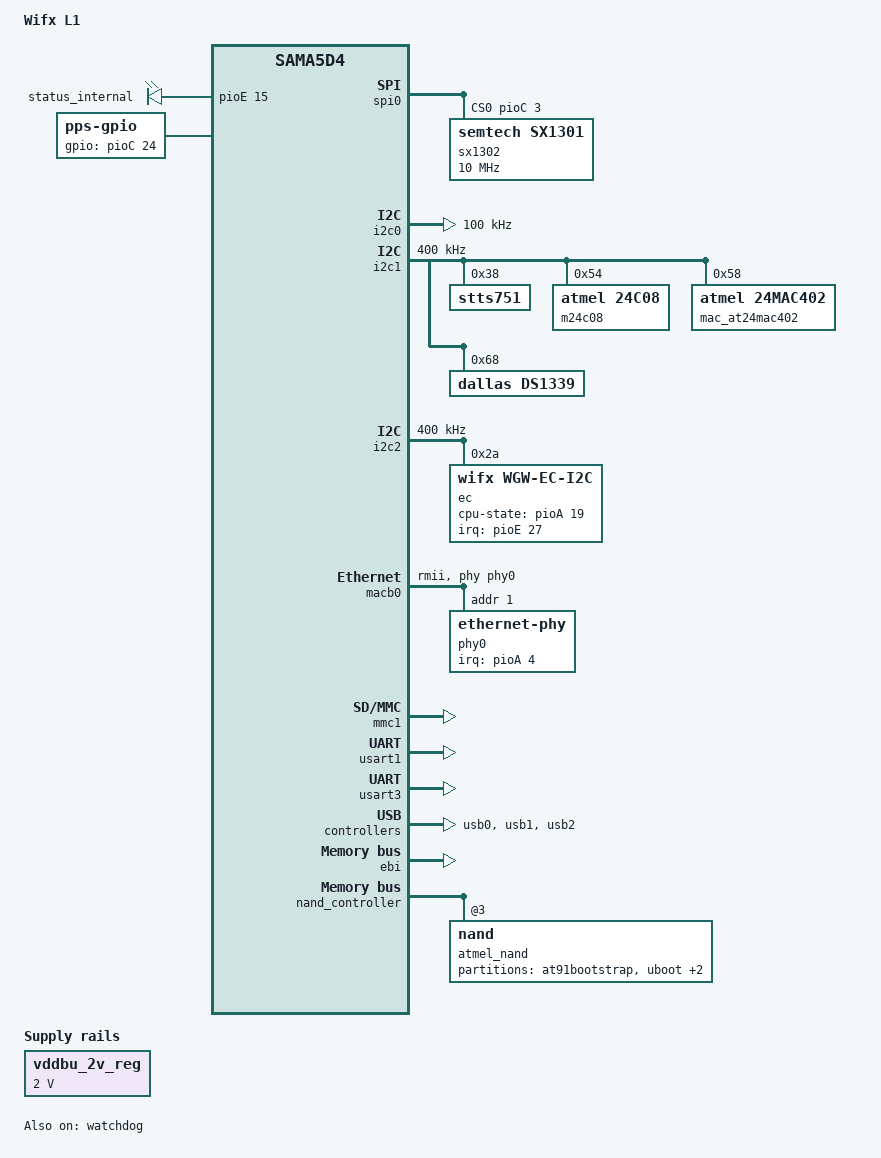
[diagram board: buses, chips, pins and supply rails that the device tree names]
// SPDX-License-Identifier: (GPL-2.0-or-later OR MIT)
// SPDX-FileCopyrightText: 2021 Wifx
// SPDX-FileCopyrightText: 2021 Yannick Lanz <yannick.lanz@wifx.net>
// SPDX-FileCopyrightText: 2022 Ahmad Fatoum, Pengutronix

/dts-v1/;

#include <arm/microchip/sama5d4.dtsi>
#include "sama5d4.dtsi"
#include <dt-bindings/gpio/gpio.h>

/ {
	model = "Wifx L1";
	compatible = "wifx,l1", "atmel,sama5d4", "atmel,sama5";
	barebox,disable-deep-probe;

	chosen {
		stdout-path = &usart3;

		environment-microsd {
			compatible = "barebox,environment";
			device-path = &mmc1;
			file-path = "barebox.env";
			status = "disabled";
		};

		environment-nand {
			compatible = "barebox,environment";
			device-path = &env_nand;
			status = "disabled";
		};
	};

	aliases {
		rtc0 = &ds1339;
		rtc1 = &rtc_internal;
		serial1 = &usart1;
		serial4 = &usart4;
	};

	leds {
		compatible = "gpio-leds";
		status = "okay";

		status_internal {
			gpios = <&pioE 15 GPIO_ACTIVE_HIGH>;
			linux,default-trigger = "heartbeat";
		};
	};

	pps {
	      compatible = "pps-gpio";
	      pinctrl-names = "default";
	      pinctrl-0 = <&pinctrl_gnss_pps>;

	      gpios = <&pioC 24 GPIO_ACTIVE_HIGH>;
	      /* assert-falling-edge; */
	};

	vddbu_2v_reg: regulator-vddbu-2v {
		compatible = "regulator-fixed";
		regulator-name = "VDDBU_2V";
		regulator-min-microvolt = <2000000>;
		regulator-max-microvolt = <2000000>;
		regulator-boot-on;
		regulator-always-on;
	};
};

&slow_xtal {
	clock-frequency = <32768>;
};

&main_xtal {
	clock-frequency = <12000000>;
};

&spi0 {
	status = "okay";
	cs-gpios = <&pioC 3 GPIO_ACTIVE_HIGH>;

	sx1302@0 {
		compatible = "semtech,sx1301";
		spi-max-frequency = <10000000>;
		reg = <0>;
	};
};

&i2c0 {
	status = "okay";
	clock-frequency = <100000>;
	i2c-digital-filter;
	i2c-analog-filter;
};

&i2c1 {
	status = "okay";
	clock-frequency = <400000>;
	i2c-digital-filter;
	i2c-analog-filter;

	stts751: temp_sensor@38 {
		compatible = "stts751";
		reg = <0x38>;
	};

	m24c08: eeprom@54 {
		compatible = "atmel,24c08";
		reg = <0x54>;
		pagesize = <16>;
	};

	mac_at24mac402: eeprom@58 {
		compatible = "atmel,24mac402";
		reg = <0x58>;
		#address-cells = <1>;
		#size-cells = <1>;

		ethaddr: mac-address@9a {
			reg = <0x9a 6>;
		};
	};

	ds1339: rtc@68 {
		compatible = "dallas,ds1339";
		reg = <0x68>;
		trickle-resistor-ohms = <250>;
	};
};

&i2c2 {
	status = "okay";
	clock-frequency = <400000>;
	i2c-digital-filter;
	i2c-analog-filter;

	ec@2a {
		compatible = "wifx,wgw-ec-i2c";
		reg = <0x2a>;

		interrupt-parent = <&pioE>;
		interrupts = <27 IRQ_TYPE_EDGE_RISING>;
		pinctrl-names = "default";
		pinctrl-0 = <&pinctrl_mcu_irq &pinctrl_mcu_cpu_state>;

		cpu-state-gpios = <&pioA 19 0>;

		usb_typec: usbc {
			compatible = "wifx,wgw-ec-usbc";
			#trigger-source-cells = <0>;
		};

		leds {
			compatible = "wifx,wgw-ec-leds";
			#address-cells = <1>;
			#size-cells = <0>;

			statusled {
				reg = <0>;
				label = "status";
				max-brightness = <255>;
				linux,default-trigger = "heartbeat";
			};

			serviceled {
				reg = <1>;
				label = "service";
				max-brightness = <255>;
				linux,default-trigger = "wgw-usbc-data-mode";
				trigger-sources = <&usb_typec>;
			};
		};
	};
};

&macb0 {
	pinctrl-names = "default";
	pinctrl-0 = <&pinctrl_macb0_rmii &pinctrl_macb0_phy_irq>;
	phy-mode = "rmii";
	phy-handle = <&phy0>;
	nvmem-cells = <&ethaddr>;
	nvmem-cell-names = "mac-address";
	status = "okay";

	phy0: ethernet-phy@1 {
		interrupt-parent = <&pioA>;
		interrupts = <4 IRQ_TYPE_LEVEL_LOW>;
		reg = <1>;
	};
};

&mmc1 {
	pinctrl-names = "default";
	pinctrl-0 = <&pinctrl_mmc1_clk_cmd_dat0 &pinctrl_mmc1_dat1_3 &pinctrl_mmc1_cd>;
	status = "okay";

	slot@0 {
		reg = <0>;
		bus-width = <4>;
		cd-gpios = <&pioE 3 0>;
	};
};

&usart1 {
	atmel,use-dma-rx;
	atmel,use-dma-tx;
	pinctrl-0 = <&pinctrl_usart1>;
	status = "okay";
};

&usart3 {
	atmel,use-dma-rx;
	atmel,use-dma-tx;
	status = "okay";
};

&tcb0 {
	timer@0 {
		compatible = "atmel,tcb-timer";
		reg = <0>;
	};

	timer@1 {
		compatible = "atmel,tcb-timer";
		reg = <1>;
	};
};

/* disable unused TCBs */
&tcb1 {
	status = "disabled";
};

&tcb2 {
	status = "disabled";
};

&watchdog {
	status = "okay";
};

rtc_internal: &{/ahb/apb/rtc@fc0686b0} {
	status = "okay";
};

&usb0 {
	atmel,vbus-gpio = <&pioE 31 GPIO_ACTIVE_HIGH>;
	atmel,id-gpio = <&pioD 11 GPIO_ACTIVE_HIGH>;
	pinctrl-names = "default";
	pinctrl-0 = <&pinctrl_usb_vbus>;
	status = "okay";
};

&usb1 {
	num-ports = <3>;
	atmel,vbus-gpio = <0 0 0 >;
	atmel,id-gpio = <&pioD 11 GPIO_ACTIVE_HIGH 0 0>;
	pinctrl-names = "default";
	pinctrl-0 = <&pinctrl_usb_id>;
	status = "okay";
};

&usb2 {
	status = "okay";
};

&ebi {
	pinctrl-0 = <&pinctrl_ebi_cs3 &pinctrl_ebi_nrd_nandoe
			&pinctrl_ebi_nwe_nandwe &pinctrl_ebi_nandrdy
			&pinctrl_ebi_data_0_7 &pinctrl_ebi_nand_addr>;
	pinctrl-names = "default";
	status = "okay";
};

&nand_controller {
	status = "okay";
	atmel,pmecc-cap = <4>;
	atmel,pmecc-sector-size = <512>;

	nand@3 {
		reg = <0x3 0x0 0x2>;
		atmel,rb = <0>;
		nand-bus-width = <8>;
		nand-ecc-mode = "hw";
		nand-on-flash-bbt;
		label = "atmel_nand";

		partitions {
			compatible = "fixed-partitions";
			#address-cells = <1>;
			#size-cells = <1>;

			at91bootstrap@0 {
				label = "at91bootstrap";
				reg = <0x0 0x40000>;
			};

			uboot@40000 {
				label = "uboot";
				reg = <0x40000 0xC0000>;
			};

			env_nand: uboot-env@100000 {
				label = "uboot-env";
				reg = <0x100000 0x80000>;
			};

			ubi@180000 {
				label = "ubi";
				reg = <0x180000 0x3FE00000>;
			};
		};
	};
};

&pinctrl {
	board {
		pinctrl_mmc1_cd: mmc1_cd {
			atmel,pins = <AT91_PIOE 3 AT91_PERIPH_GPIO AT91_PINCTRL_PULL_UP_DEGLITCH>;
		};
		pinctrl_usb_vbus: usb_vbus {
			atmel,pins = <AT91_PIOE 31 AT91_PERIPH_GPIO AT91_PINCTRL_PULL_UP_DEGLITCH>;
		};
		pinctrl_usb_id: usb_id {
			atmel,pins = <AT91_PIOD 11 AT91_PERIPH_GPIO AT91_PINCTRL_PULL_UP_DEGLITCH>;
		};
		pinctrl_mcu_irq: mcu_irq_0 {
			atmel,pins = <AT91_PIOE 27 AT91_PERIPH_GPIO AT91_PINCTRL_PULL_UP_DEGLITCH>;
		};
		pinctrl_mcu_cpu_state: mcu_cpu_state {
			atmel,pins = <AT91_PIOA 19 AT91_PERIPH_GPIO (AT91_PINCTRL_OUTPUT | AT91_PINCTRL_OUTPUT_VAL(1))>;
		};
		pinctrl_macb0_phy_irq: macb0_phy_irq_0 {
			atmel,pins = <AT91_PIOA 4 AT91_PERIPH_GPIO AT91_PINCTRL_PULL_UP_DEGLITCH>;
		};
		pinctrl_sx130x_rst: sx130x_rst {
			atmel,pins = <AT91_PIOA 1 AT91_PERIPH_GPIO AT91_PINCTRL_PULL_UP_DEGLITCH>;
		};
		pinctrl_rf_front_pwr_en: rf_front_pwr_en {
			atmel,pins = <AT91_PIOA 1 AT91_PERIPH_GPIO AT91_PINCTRL_PULL_UP_DEGLITCH>;
		};

		pinctrl_ext_rst: ext_rst {
			atmel,pins = <AT91_PIOA 17 AT91_PERIPH_GPIO AT91_PINCTRL_PULL_UP_DEGLITCH>;
		};
		pinctrl_ext_pwr_en: ext_pwr_en {
			atmel,pins = <AT91_PIOD 18 AT91_PERIPH_GPIO AT91_PINCTRL_PULL_DOWN>;
		};
		pinctrl_ext_boot_n: ext_boot_n {
			atmel,pins = <AT91_PIOD 19 AT91_PERIPH_GPIO AT91_PINCTRL_PULL_UP_DEGLITCH>;
		};
		pinctrl_ext_wake: ext_wake {
			atmel,pins = <AT91_PIOA 5 AT91_PERIPH_GPIO AT91_PINCTRL_PULL_UP_DEGLITCH>;
		};
		pinctrl_gnss_pps: gnss_pps {
			atmel,pins = <AT91_PIOC 24 AT91_PERIPH_GPIO AT91_PINCTRL_DEGLITCH>;
		};
	};
};
